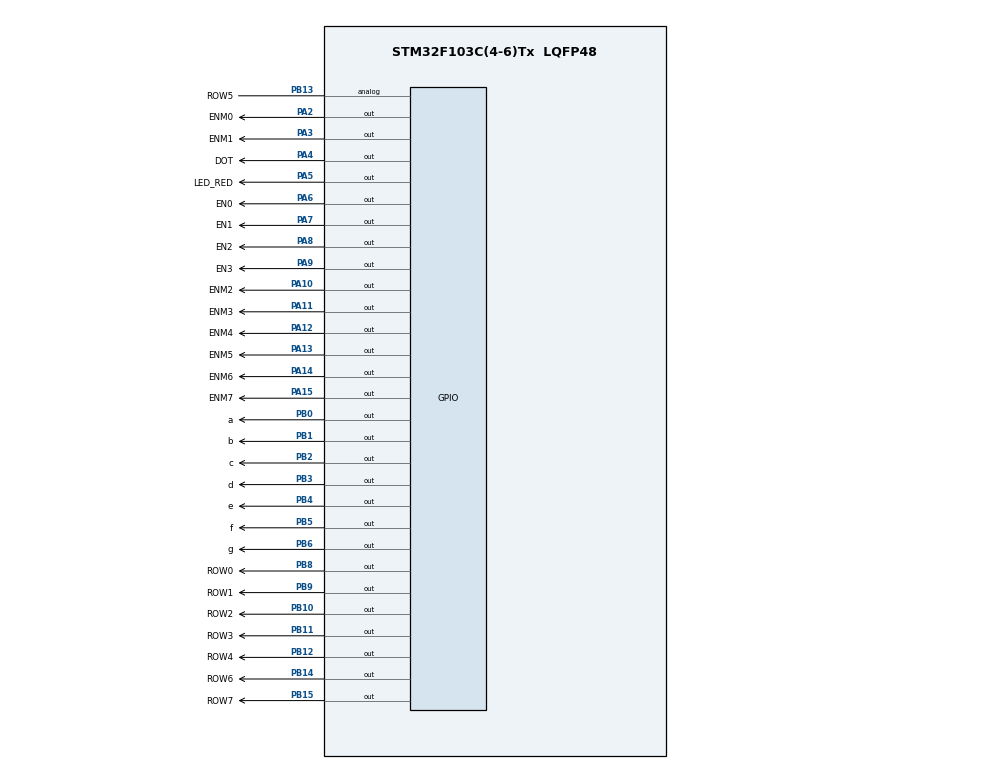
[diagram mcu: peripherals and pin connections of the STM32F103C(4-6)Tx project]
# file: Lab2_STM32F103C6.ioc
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Mcu.Family=STM32F1
Mcu.Name=STM32F103C(4-6)Tx
Mcu.Package=LQFP48
NVIC.PriorityGroup=NVIC_PRIORITYGROUP_4
NVIC.TIM2_IRQn=true\:0\:0\:false\:false\:true\:true\:true
PA10.GPIO_Label=ENM2
PA10.Signal=GPIO_Output
PA11.GPIO_Label=ENM3
PA11.Signal=GPIO_Output
PA12.GPIO_Label=ENM4
PA12.Signal=GPIO_Output
PA13.GPIO_Label=ENM5
PA13.Signal=GPIO_Output
PA14.GPIO_Label=ENM6
PA14.Signal=GPIO_Output
PA15.GPIO_Label=ENM7
PA15.Signal=GPIO_Output
PA2.GPIO_Label=ENM0
PA2.Signal=GPIO_Output
PA3.GPIO_Label=ENM1
PA3.Signal=GPIO_Output
PA4.GPIO_Label=DOT
PA4.Signal=GPIO_Output
PA5.GPIO_Label=LED_RED
PA5.Signal=GPIO_Output
PA6.GPIO_Label=EN0
PA6.Signal=GPIO_Output
PA7.GPIO_Label=EN1
PA7.Signal=GPIO_Output
PA8.GPIO_Label=EN2
PA8.Signal=GPIO_Output
PA9.GPIO_Label=EN3
PA9.Signal=GPIO_Output
PB0.GPIO_Label=a
PB0.Signal=GPIO_Output
PB1.GPIO_Label=b
PB1.Signal=GPIO_Output
PB10.GPIO_Label=ROW2
PB10.Signal=GPIO_Output
PB11.GPIO_Label=ROW3
PB11.Signal=GPIO_Output
PB12.GPIO_Label=ROW4
PB12.Signal=GPIO_Output
PB13.GPIO_Label=ROW5
PB13.Signal=GPIO_Analog
PB14.GPIO_Label=ROW6
PB14.Signal=GPIO_Output
PB15.GPIO_Label=ROW7
PB15.Signal=GPIO_Output
PB2.GPIO_Label=c
PB2.Signal=GPIO_Output
PB3.GPIO_Label=d
PB3.Signal=GPIO_Output
PB4.GPIO_Label=e
PB4.Signal=GPIO_Output
PB5.GPIO_Label=f
PB5.Signal=GPIO_Output
PB6.GPIO_Label=g
PB6.Signal=GPIO_Output
PB8.GPIO_Label=ROW0
PB8.Signal=GPIO_Output
PB9.GPIO_Label=ROW1
PB9.Signal=GPIO_Output
ProjectManager.HeapSize=0x200
ProjectManager.StackSize=0x400
ProjectManager.TargetToolchain=STM32CubeIDE
RCC.APB1Freq_Value=8000000
RCC.APB2Freq_Value=8000000
TIM2.Period=9
TIM2.Prescaler=7999
VP_SYS_VS_ND.Mode=No_Debug
VP_TIM2_VS_ClockSourceINT.Mode=Internal
board=custom

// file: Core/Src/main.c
/* USER CODE BEGIN Header */
/**
  ******************************************************************************
  * @file           : main.c
  * @brief          : Main program body
  ******************************************************************************
  * @attention
  *
  * <h2><center>&copy; Copyright (c) 2025 STMicroelectronics.
  * All rights reserved.</center></h2>
  *
  * This software component is licensed by ST under BSD 3-Clause license,
  * the "License"; You may not use this file except in compliance with the
  * License. You may obtain a copy of the License at:
  *                        opensource.org/licenses/BSD-3-Clause
  *
  ******************************************************************************
  */
/* USER CODE END Header */
#include "main.h"

/* USER CODE BEGIN Includes */
#include "timer.h"
/* USER CODE END Includes */

TIM_HandleTypeDef htim2;

void SystemClock_Config(void);
static void MX_GPIO_Init(void);
static void MX_TIM2_Init(void);

/* USER CODE BEGIN 0 */
int hour = 7, minute = 59, second = 45;  // Init values: 7:59:45
const int MAX_LED = 4;
int index_led = 0;
int led_buffer[4] = {0, 0, 0, 0};

const int MAX_LED_MATRIX = 8;
int index_led_matrix = 0;
uint8_t matrix_buffer[8] = {0x18, 0x24, 0x42, 0x42, 0x7E, 0x42, 0x42, 0x42};  // Pattern cho "A"
/* USER CODE END 0 */

int main(void)
{

  /* MCU Configuration--------------------------------------------------------*/

  /* Reset of all peripherals, Initializes the Flash interface and the Systick. */
  HAL_Init();

  /* Configure the system clock */
  SystemClock_Config();

  /* Initialize all configured peripherals */
  MX_GPIO_Init();
  MX_TIM2_Init();
  /* USER CODE BEGIN 2 */
  HAL_TIM_Base_Start_IT(&htim2);
  updateClockBuffer();
  /* USER CODE END 2 */

  /* Infinite loop */
  /* USER CODE BEGIN WHILE */
  setTimer1(25); // Display 7seg leds
  setTimer2(100); // Update real time
  setTimer3(100);
  while (1)
  {
    /* USER CODE END WHILE */

    /* USER CODE BEGIN 3 */
	  if (timer1_flag == 1)
	  {
		  setTimer1(25);
		  // Scan 7seg led
		  HAL_GPIO_WritePin(GPIOA, GPIO_PIN_6 | GPIO_PIN_7 | GPIO_PIN_8 | GPIO_PIN_9, SET);
		  update7SEG(index_led);  // Display current led
		  switch (index_led)
		  {
		  case 0: HAL_GPIO_WritePin(GPIOA, GPIO_PIN_6, RESET); break;  // LED1
		  case 1: HAL_GPIO_WritePin(GPIOA, GPIO_PIN_7, RESET); break;  // LED2
		  case 2: HAL_GPIO_WritePin(GPIOA, GPIO_PIN_8, RESET); break;  // LED3
		  case 3: HAL_GPIO_WritePin(GPIOA, GPIO_PIN_9, RESET); break;  // LED4
		  }
		  index_led = (index_led + 1) % MAX_LED;  // Next led
	  }

	  if (timer2_flag == 1)
	  {
		  setTimer2(100);
		  second++;
		  if (second >= 60)
		  {
			  second = 0;
			  minute++;
			  if (minute >= 60)
			  {
				  minute = 0;
				  hour++;
				  if (hour >= 24)
				  {
					  hour = 0;
				  }
			  }
		  }
		  HAL_GPIO_TogglePin(GPIOA, GPIO_PIN_4); // led DOT
		  HAL_GPIO_TogglePin(GPIOA, GPIO_PIN_5); // led PA5
		  updateClockBuffer();
	  }

	  if (timer3_flag == 1)
	  {
		  updateLEDMatrix(index_led_matrix);
		  index_led_matrix = (index_led_matrix + 1) % MAX_LED_MATRIX;
		  setTimer3(100);
	  }
  }
  /* USER CODE END 3 */
}

void SystemClock_Config(void)
{
  RCC_OscInitTypeDef RCC_OscInitStruct = {0};
  RCC_ClkInitTypeDef RCC_ClkInitStruct = {0};

  /** Initializes the RCC Oscillators according to the specified parameters
  * in the RCC_OscInitTypeDef structure.
  */
  RCC_OscInitStruct.OscillatorType = RCC_OSCILLATORTYPE_HSI;
  RCC_OscInitStruct.HSIState = RCC_HSI_ON;
  RCC_OscInitStruct.HSICalibrationValue = RCC_HSICALIBRATION_DEFAULT;
  RCC_OscInitStruct.PLL.PLLState = RCC_PLL_NONE;
  if (HAL_RCC_OscConfig(&RCC_OscInitStruct) != HAL_OK)
  {
    Error_Handler();
  }
  /** Initializes the CPU, AHB and APB buses clocks
  */
  RCC_ClkInitStruct.ClockType = RCC_CLOCKTYPE_HCLK|RCC_CLOCKTYPE_SYSCLK
                              |RCC_CLOCKTYPE_PCLK1|RCC_CLOCKTYPE_PCLK2;
  RCC_ClkInitStruct.SYSCLKSource = RCC_SYSCLKSOURCE_HSI;
  RCC_ClkInitStruct.AHBCLKDivider = RCC_SYSCLK_DIV1;
  RCC_ClkInitStruct.APB1CLKDivider = RCC_HCLK_DIV1;
  RCC_ClkInitStruct.APB2CLKDivider = RCC_HCLK_DIV1;

  if (HAL_RCC_ClockConfig(&RCC_ClkInitStruct, FLASH_LATENCY_0) != HAL_OK)
  {
    Error_Handler();
  }
}

static void MX_TIM2_Init(void)
{

  TIM_ClockConfigTypeDef sClockSourceConfig = {0};
  TIM_MasterConfigTypeDef sMasterConfig = {0};

  htim2.Instance = TIM2;
  htim2.Init.Prescaler = 7999;
  htim2.Init.CounterMode = TIM_COUNTERMODE_UP;
  htim2.Init.Period = 9;
  htim2.Init.ClockDivision = TIM_CLOCKDIVISION_DIV1;
  htim2.Init.AutoReloadPreload = TIM_AUTORELOAD_PRELOAD_DISABLE;
  if (HAL_TIM_Base_Init(&htim2) != HAL_OK)
  {
    Error_Handler();
  }
  sClockSourceConfig.ClockSource = TIM_CLOCKSOURCE_INTERNAL;
  if (HAL_TIM_ConfigClockSource(&htim2, &sClockSourceConfig) != HAL_OK)
  {
    Error_Handler();
  }
  sMasterConfig.MasterOutputTrigger = TIM_TRGO_RESET;
  sMasterConfig.MasterSlaveMode = TIM_MASTERSLAVEMODE_DISABLE;
  if (HAL_TIMEx_MasterConfigSynchronization(&htim2, &sMasterConfig) != HAL_OK)
  {
    Error_Handler();
  }

}

static void MX_GPIO_Init(void)
{
  GPIO_InitTypeDef GPIO_InitStruct = {0};

  /* GPIO Ports Clock Enable */
  __HAL_RCC_GPIOA_CLK_ENABLE();
  __HAL_RCC_GPIOB_CLK_ENABLE();

  /*Configure GPIO pin Output Level */
  HAL_GPIO_WritePin(GPIOA, ENM0_Pin|ENM1_Pin|DOT_Pin|LED_RED_Pin
                          |EN0_Pin|EN1_Pin|EN2_Pin|EN3_Pin
                          |ENM2_Pin|ENM3_Pin|ENM4_Pin|ENM5_Pin
                          |ENM6_Pin|ENM7_Pin, GPIO_PIN_RESET);

  /*Configure GPIO pin Output Level */
  HAL_GPIO_WritePin(GPIOB, a_Pin|b_Pin|c_Pin|ROW2_Pin
                          |ROW3_Pin|ROW4_Pin|ROW6_Pin|ROW7_Pin
                          |d_Pin|e_Pin|f_Pin|g_Pin
                          |ROW0_Pin|ROW1_Pin, GPIO_PIN_RESET);

  /*Configure GPIO pins : ENM0_Pin ENM1_Pin DOT_Pin LED_RED_Pin
                           EN0_Pin EN1_Pin EN2_Pin EN3_Pin
                           ENM2_Pin ENM3_Pin ENM4_Pin ENM5_Pin
                           ENM6_Pin ENM7_Pin */
  GPIO_InitStruct.Pin = ENM0_Pin|ENM1_Pin|DOT_Pin|LED_RED_Pin
                          |EN0_Pin|EN1_Pin|EN2_Pin|EN3_Pin
                          |ENM2_Pin|ENM3_Pin|ENM4_Pin|ENM5_Pin
                          |ENM6_Pin|ENM7_Pin;
  GPIO_InitStruct.Mode = GPIO_MODE_OUTPUT_PP;
  GPIO_InitStruct.Pull = GPIO_NOPULL;
  GPIO_InitStruct.Speed = GPIO_SPEED_FREQ_LOW;
  HAL_GPIO_Init(GPIOA, &GPIO_InitStruct);

  /*Configure GPIO pins : a_Pin b_Pin c_Pin ROW2_Pin
                           ROW3_Pin ROW4_Pin ROW6_Pin ROW7_Pin
                           d_Pin e_Pin f_Pin g_Pin
                           ROW0_Pin ROW1_Pin */
  GPIO_InitStruct.Pin = a_Pin|b_Pin|c_Pin|ROW2_Pin
                          |ROW3_Pin|ROW4_Pin|ROW6_Pin|ROW7_Pin
                          |d_Pin|e_Pin|f_Pin|g_Pin
                          |ROW0_Pin|ROW1_Pin;
  GPIO_InitStruct.Mode = GPIO_MODE_OUTPUT_PP;
  GPIO_InitStruct.Pull = GPIO_NOPULL;
  GPIO_InitStruct.Speed = GPIO_SPEED_FREQ_LOW;
  HAL_GPIO_Init(GPIOB, &GPIO_InitStruct);

  /*Configure GPIO pin : ROW5_Pin */
  GPIO_InitStruct.Pin = ROW5_Pin;
  GPIO_InitStruct.Mode = GPIO_MODE_ANALOG;
  HAL_GPIO_Init(ROW5_GPIO_Port, &GPIO_InitStruct);

}

/* USER CODE BEGIN 4 */
void update7SEG(int index)
{
    if (index < 0 || index >= MAX_LED) return;  // Check valid index

    // Turn off enable pins
    HAL_GPIO_WritePin(GPIOA, GPIO_PIN_6 | GPIO_PIN_7 | GPIO_PIN_8 | GPIO_PIN_9, SET);

    // Display numbers from buffer (PB0-PB6)
    display7SEG(led_buffer[index]);

    switch (index)
    {
	case 0:
		HAL_GPIO_WritePin(GPIOA, GPIO_PIN_6, RESET);  // LED1
		break;
	case 1:
		HAL_GPIO_WritePin(GPIOA, GPIO_PIN_7, RESET);  // LED2
		break;
	case 2:
		HAL_GPIO_WritePin(GPIOA, GPIO_PIN_8, RESET);  // LED3
		break;
	case 3:
		HAL_GPIO_WritePin(GPIOA, GPIO_PIN_9, RESET);  // LED4
		break;
	default:
		break;
    }
}

void updateClockBuffer()
{
    // Update hour
    if (hour >= 24) hour = 0;
    int temp_hour = hour;
    led_buffer[0] = temp_hour / 10;  // First num of hour
    led_buffer[1] = temp_hour % 10;  // Second num of hour

    // Update minute
    if (minute >= 60) minute = 0;
    int temp_minute = minute;
    led_buffer[2] = temp_minute / 10;  // First num of minute
    led_buffer[3] = temp_minute % 10;  // Second num of minute
}

void updateLEDMatrix(int index)
{
    HAL_GPIO_WritePin(GPIOA, GPIO_PIN_2 | GPIO_PIN_3 | GPIO_PIN_10 | GPIO_PIN_11 | GPIO_PIN_12 | GPIO_PIN_13 | GPIO_PIN_14 | GPIO_PIN_15, SET);
    switch (index)
    {
        case 0:
            HAL_GPIO_WritePin(GPIOB, GPIO_PIN_8, (matrix_buffer[0] & 0x01) ? GPIO_PIN_RESET : GPIO_PIN_SET);
            HAL_GPIO_WritePin(GPIOB, GPIO_PIN_9, (matrix_buffer[0] & 0x02) ? GPIO_PIN_RESET : GPIO_PIN_SET);
            HAL_GPIO_WritePin(GPIOB, GPIO_PIN_10, (matrix_buffer[0] & 0x04) ? GPIO_PIN_RESET : GPIO_PIN_SET);
            HAL_GPIO_WritePin(GPIOB, GPIO_PIN_11, (matrix_buffer[0] & 0x08) ? GPIO_PIN_RESET : GPIO_PIN_SET);
            HAL_GPIO_WritePin(GPIOB, GPIO_PIN_12, (matrix_buffer[0] & 0x10) ? GPIO_PIN_RESET : GPIO_PIN_SET);
            HAL_GPIO_WritePin(GPIOB, GPIO_PIN_13, (matrix_buffer[0] & 0x20) ? GPIO_PIN_RESET : GPIO_PIN_SET);
            HAL_GPIO_WritePin(GPIOB, GPIO_PIN_14, (matrix_buffer[0] & 0x40) ? GPIO_PIN_RESET : GPIO_PIN_SET);
            HAL_GPIO_WritePin(GPIOB, GPIO_PIN_15, (matrix_buffer[0] & 0x80) ? GPIO_PIN_RESET : GPIO_PIN_SET);
            HAL_GPIO_WritePin(GPIOA, GPIO_PIN_2, GPIO_PIN_RESET); break;
        case 1:
        	HAL_GPIO_WritePin(GPIOB, GPIO_PIN_8, (matrix_buffer[1] & 0x01) ? GPIO_PIN_RESET : GPIO_PIN_SET);
			HAL_GPIO_WritePin(GPIOB, GPIO_PIN_9, (matrix_buffer[1] & 0x02) ? GPIO_PIN_RESET : GPIO_PIN_SET);
			HAL_GPIO_WritePin(GPIOB, GPIO_PIN_10, (matrix_buffer[1] & 0x04) ? GPIO_PIN_RESET : GPIO_PIN_SET);
			HAL_GPIO_WritePin(GPIOB, GPIO_PIN_11, (matrix_buffer[1] & 0x08) ? GPIO_PIN_RESET : GPIO_PIN_SET);
			HAL_GPIO_WritePin(GPIOB, GPIO_PIN_12, (matrix_buffer[1] & 0x10) ? GPIO_PIN_RESET : GPIO_PIN_SET);
			HAL_GPIO_WritePin(GPIOB, GPIO_PIN_13, (matrix_buffer[1] & 0x20) ? GPIO_PIN_RESET : GPIO_PIN_SET);
			HAL_GPIO_WritePin(GPIOB, GPIO_PIN_14, (matrix_buffer[1] & 0x40) ? GPIO_PIN_RESET : GPIO_PIN_SET);
			HAL_GPIO_WritePin(GPIOB, GPIO_PIN_15, (matrix_buffer[1] & 0x80) ? GPIO_PIN_RESET : GPIO_PIN_SET);
            HAL_GPIO_WritePin(GPIOA, GPIO_PIN_3, GPIO_PIN_RESET); break;
        case 2:
        	HAL_GPIO_WritePin(GPIOB, GPIO_PIN_8, (matrix_buffer[2] & 0x01) ? GPIO_PIN_RESET : GPIO_PIN_SET);
			HAL_GPIO_WritePin(GPIOB, GPIO_PIN_9, (matrix_buffer[2] & 0x02) ? GPIO_PIN_RESET : GPIO_PIN_SET);
			HAL_GPIO_WritePin(GPIOB, GPIO_PIN_10, (matrix_buffer[2] & 0x04) ? GPIO_PIN_RESET : GPIO_PIN_SET);
			HAL_GPIO_WritePin(GPIOB, GPIO_PIN_11, (matrix_buffer[2] & 0x08) ? GPIO_PIN_RESET : GPIO_PIN_SET);
			HAL_GPIO_WritePin(GPIOB, GPIO_PIN_12, (matrix_buffer[2] & 0x10) ? GPIO_PIN_RESET : GPIO_PIN_SET);
			HAL_GPIO_WritePin(GPIOB, GPIO_PIN_13, (matrix_buffer[2] & 0x20) ? GPIO_PIN_RESET : GPIO_PIN_SET);
			HAL_GPIO_WritePin(GPIOB, GPIO_PIN_14, (matrix_buffer[2] & 0x40) ? GPIO_PIN_RESET : GPIO_PIN_SET);
			HAL_GPIO_WritePin(GPIOB, GPIO_PIN_15, (matrix_buffer[2] & 0x80) ? GPIO_PIN_RESET : GPIO_PIN_SET);
            HAL_GPIO_WritePin(GPIOA, GPIO_PIN_10, GPIO_PIN_RESET); break;
        case 3:
        	HAL_GPIO_WritePin(GPIOB, GPIO_PIN_8, (matrix_buffer[3] & 0x01) ? GPIO_PIN_RESET : GPIO_PIN_SET);
			HAL_GPIO_WritePin(GPIOB, GPIO_PIN_9, (matrix_buffer[3] & 0x02) ? GPIO_PIN_RESET : GPIO_PIN_SET);
			HAL_GPIO_WritePin(GPIOB, GPIO_PIN_10, (matrix_buffer[3] & 0x04) ? GPIO_PIN_RESET : GPIO_PIN_SET);
			HAL_GPIO_WritePin(GPIOB, GPIO_PIN_11, (matrix_buffer[3] & 0x08) ? GPIO_PIN_RESET : GPIO_PIN_SET);
			HAL_GPIO_WritePin(GPIOB, GPIO_PIN_12, (matrix_buffer[3] & 0x10) ? GPIO_PIN_RESET : GPIO_PIN_SET);
			HAL_GPIO_WritePin(GPIOB, GPIO_PIN_13, (matrix_buffer[3] & 0x20) ? GPIO_PIN_RESET : GPIO_PIN_SET);
			HAL_GPIO_WritePin(GPIOB, GPIO_PIN_14, (matrix_buffer[3] & 0x40) ? GPIO_PIN_RESET : GPIO_PIN_SET);
			HAL_GPIO_WritePin(GPIOB, GPIO_PIN_15, (matrix_buffer[3] & 0x80) ? GPIO_PIN_RESET : GPIO_PIN_SET);
            HAL_GPIO_WritePin(GPIOA, GPIO_PIN_11, GPIO_PIN_RESET); break;
        case 4:
        	HAL_GPIO_WritePin(GPIOB, GPIO_PIN_8, (matrix_buffer[4] & 0x01) ? GPIO_PIN_RESET : GPIO_PIN_SET);
			HAL_GPIO_WritePin(GPIOB, GPIO_PIN_9, (matrix_buffer[4] & 0x02) ? GPIO_PIN_RESET : GPIO_PIN_SET);
			HAL_GPIO_WritePin(GPIOB, GPIO_PIN_10, (matrix_buffer[4] & 0x04) ? GPIO_PIN_RESET : GPIO_PIN_SET);
			HAL_GPIO_WritePin(GPIOB, GPIO_PIN_11, (matrix_buffer[4] & 0x08) ? GPIO_PIN_RESET : GPIO_PIN_SET);
			HAL_GPIO_WritePin(GPIOB, GPIO_PIN_12, (matrix_buffer[4] & 0x10) ? GPIO_PIN_RESET : GPIO_PIN_SET);
			HAL_GPIO_WritePin(GPIOB, GPIO_PIN_13, (matrix_buffer[4] & 0x20) ? GPIO_PIN_RESET : GPIO_PIN_SET);
			HAL_GPIO_WritePin(GPIOB, GPIO_PIN_14, (matrix_buffer[4] & 0x40) ? GPIO_PIN_RESET : GPIO_PIN_SET);
			HAL_GPIO_WritePin(GPIOB, GPIO_PIN_15, (matrix_buffer[4] & 0x80) ? GPIO_PIN_RESET : GPIO_PIN_SET);
            HAL_GPIO_WritePin(GPIOA, GPIO_PIN_12, GPIO_PIN_RESET); break;
        case 5:
        	HAL_GPIO_WritePin(GPIOB, GPIO_PIN_8, (matrix_buffer[5] & 0x01) ? GPIO_PIN_RESET : GPIO_PIN_SET);
			HAL_GPIO_WritePin(GPIOB, GPIO_PIN_9, (matrix_buffer[5] & 0x02) ? GPIO_PIN_RESET : GPIO_PIN_SET);
			HAL_GPIO_WritePin(GPIOB, GPIO_PIN_10, (matrix_buffer[5] & 0x04) ? GPIO_PIN_RESET : GPIO_PIN_SET);
			HAL_GPIO_WritePin(GPIOB, GPIO_PIN_11, (matrix_buffer[5] & 0x08) ? GPIO_PIN_RESET : GPIO_PIN_SET);
			HAL_GPIO_WritePin(GPIOB, GPIO_PIN_12, (matrix_buffer[5] & 0x10) ? GPIO_PIN_RESET : GPIO_PIN_SET);
			HAL_GPIO_WritePin(GPIOB, GPIO_PIN_13, (matrix_buffer[5] & 0x20) ? GPIO_PIN_RESET : GPIO_PIN_SET);
			HAL_GPIO_WritePin(GPIOB, GPIO_PIN_14, (matrix_buffer[5] & 0x40) ? GPIO_PIN_RESET : GPIO_PIN_SET);
			HAL_GPIO_WritePin(GPIOB, GPIO_PIN_15, (matrix_buffer[5] & 0x80) ? GPIO_PIN_RESET : GPIO_PIN_SET);
            HAL_GPIO_WritePin(GPIOA, GPIO_PIN_13, GPIO_PIN_RESET); break;
        case 6:
        	HAL_GPIO_WritePin(GPIOB, GPIO_PIN_8, (matrix_buffer[6] & 0x01) ? GPIO_PIN_RESET : GPIO_PIN_SET);
			HAL_GPIO_WritePin(GPIOB, GPIO_PIN_9, (matrix_buffer[6] & 0x02) ? GPIO_PIN_RESET : GPIO_PIN_SET);
			HAL_GPIO_WritePin(GPIOB, GPIO_PIN_10, (matrix_buffer[6] & 0x04) ? GPIO_PIN_RESET : GPIO_PIN_SET);
			HAL_GPIO_WritePin(GPIOB, GPIO_PIN_11, (matrix_buffer[6] & 0x08) ? GPIO_PIN_RESET : GPIO_PIN_SET);
			HAL_GPIO_WritePin(GPIOB, GPIO_PIN_12, (matrix_buffer[6] & 0x10) ? GPIO_PIN_RESET : GPIO_PIN_SET);
			HAL_GPIO_WritePin(GPIOB, GPIO_PIN_13, (matrix_buffer[6] & 0x20) ? GPIO_PIN_RESET : GPIO_PIN_SET);
			HAL_GPIO_WritePin(GPIOB, GPIO_PIN_14, (matrix_buffer[6] & 0x40) ? GPIO_PIN_RESET : GPIO_PIN_SET);
			HAL_GPIO_WritePin(GPIOB, GPIO_PIN_15, (matrix_buffer[6] & 0x80) ? GPIO_PIN_RESET : GPIO_PIN_SET);
            HAL_GPIO_WritePin(GPIOA, GPIO_PIN_14, GPIO_PIN_RESET); break;
        case 7:
        	HAL_GPIO_WritePin(GPIOB, GPIO_PIN_8, (matrix_buffer[7] & 0x01) ? GPIO_PIN_RESET : GPIO_PIN_SET);
			HAL_GPIO_WritePin(GPIOB, GPIO_PIN_9, (matrix_buffer[7] & 0x02) ? GPIO_PIN_RESET : GPIO_PIN_SET);
			HAL_GPIO_WritePin(GPIOB, GPIO_PIN_10, (matrix_buffer[7] & 0x04) ? GPIO_PIN_RESET : GPIO_PIN_SET);
			HAL_GPIO_WritePin(GPIOB, GPIO_PIN_11, (matrix_buffer[7] & 0x08) ? GPIO_PIN_RESET : GPIO_PIN_SET);
			HAL_GPIO_WritePin(GPIOB, GPIO_PIN_12, (matrix_buffer[7] & 0x10) ? GPIO_PIN_RESET : GPIO_PIN_SET);
			HAL_GPIO_WritePin(GPIOB, GPIO_PIN_13, (matrix_buffer[7] & 0x20) ? GPIO_PIN_RESET : GPIO_PIN_SET);
			HAL_GPIO_WritePin(GPIOB, GPIO_PIN_14, (matrix_buffer[7] & 0x40) ? GPIO_PIN_RESET : GPIO_PIN_SET);
			HAL_GPIO_WritePin(GPIOB, GPIO_PIN_15, (matrix_buffer[7] & 0x80) ? GPIO_PIN_RESET : GPIO_PIN_SET);
            HAL_GPIO_WritePin(GPIOA, GPIO_PIN_15, GPIO_PIN_RESET); break;
        default: break;
    }
}

void HAL_TIM_PeriodElapsedCallback(TIM_HandleTypeDef *htim)
{
    timerRun();
}

void display7SEG(int num)
{
    switch (num)
    {
        case 0:
            HAL_GPIO_WritePin(GPIOB, GPIO_PIN_0, GPIO_PIN_RESET); // a on
            HAL_GPIO_WritePin(GPIOB, GPIO_PIN_1, GPIO_PIN_RESET); // b on
            HAL_GPIO_WritePin(GPIOB, GPIO_PIN_2, GPIO_PIN_RESET); // c on
            HAL_GPIO_WritePin(GPIOB, GPIO_PIN_3, GPIO_PIN_RESET); // d on
            HAL_GPIO_WritePin(GPIOB, GPIO_PIN_4, GPIO_PIN_RESET); // e on
            HAL_GPIO_WritePin(GPIOB, GPIO_PIN_5, GPIO_PIN_RESET); // f on
            HAL_GPIO_WritePin(GPIOB, GPIO_PIN_6, GPIO_PIN_SET);   // g off
            break;
        case 1:
            HAL_GPIO_WritePin(GPIOB, GPIO_PIN_0, GPIO_PIN_SET);   // a off
            HAL_GPIO_WritePin(GPIOB, GPIO_PIN_1, GPIO_PIN_RESET); // b on
            HAL_GPIO_WritePin(GPIOB, GPIO_PIN_2, GPIO_PIN_RESET); // c on
            HAL_GPIO_WritePin(GPIOB, GPIO_PIN_3, GPIO_PIN_SET);   // d off
            HAL_GPIO_WritePin(GPIOB, GPIO_PIN_4, GPIO_PIN_SET);   // e off
            HAL_GPIO_WritePin(GPIOB, GPIO_PIN_5, GPIO_PIN_SET);   // f off
            HAL_GPIO_WritePin(GPIOB, GPIO_PIN_6, GPIO_PIN_SET);   // g off
            break;
        case 2:
            HAL_GPIO_WritePin(GPIOB, GPIO_PIN_0, GPIO_PIN_RESET); // a on
            HAL_GPIO_WritePin(GPIOB, GPIO_PIN_1, GPIO_PIN_RESET); // b on
            HAL_GPIO_WritePin(GPIOB, GPIO_PIN_2, GPIO_PIN_SET);   // c off
            HAL_GPIO_WritePin(GPIOB, GPIO_PIN_3, GPIO_PIN_RESET); // d on
            HAL_GPIO_WritePin(GPIOB, GPIO_PIN_4, GPIO_PIN_RESET); // e on
            HAL_GPIO_WritePin(GPIOB, GPIO_PIN_5, GPIO_PIN_SET);   // f off
            HAL_GPIO_WritePin(GPIOB, GPIO_PIN_6, GPIO_PIN_RESET); // g on
            break;
        case 3:
            HAL_GPIO_WritePin(GPIOB, GPIO_PIN_0, GPIO_PIN_RESET); // a on
            HAL_GPIO_WritePin(GPIOB, GPIO_PIN_1, GPIO_PIN_RESET); // b on
            HAL_GPIO_WritePin(GPIOB, GPIO_PIN_2, GPIO_PIN_RESET); // c on
            HAL_GPIO_WritePin(GPIOB, GPIO_PIN_3, GPIO_PIN_RESET); // d on
            HAL_GPIO_WritePin(GPIOB, GPIO_PIN_4, GPIO_PIN_SET);   // e off
            HAL_GPIO_WritePin(GPIOB, GPIO_PIN_5, GPIO_PIN_SET);   // f off
            HAL_GPIO_WritePin(GPIOB, GPIO_PIN_6, GPIO_PIN_RESET); // g on
            break;
        case 4:
            HAL_GPIO_WritePin(GPIOB, GPIO_PIN_0, GPIO_PIN_SET);   // a off
            HAL_GPIO_WritePin(GPIOB, GPIO_PIN_1, GPIO_PIN_RESET); // b on
            HAL_GPIO_WritePin(GPIOB, GPIO_PIN_2, GPIO_PIN_RESET); // c on
            HAL_GPIO_WritePin(GPIOB, GPIO_PIN_3, GPIO_PIN_SET);   // d off
            HAL_GPIO_WritePin(GPIOB, GPIO_PIN_4, GPIO_PIN_SET);   // e off
            HAL_GPIO_WritePin(GPIOB, GPIO_PIN_5, GPIO_PIN_RESET); // f on
            HAL_GPIO_WritePin(GPIOB, GPIO_PIN_6, GPIO_PIN_RESET); // g on
            break;
        case 5:
            HAL_GPIO_WritePin(GPIOB, GPIO_PIN_0, GPIO_PIN_RESET); // a on
            HAL_GPIO_WritePin(GPIOB, GPIO_PIN_1, GPIO_PIN_SET);   // b off
            HAL_GPIO_WritePin(GPIOB, GPIO_PIN_2, GPIO_PIN_RESET); // c on
            HAL_GPIO_WritePin(GPIOB, GPIO_PIN_3, GPIO_PIN_RESET); // d on
            HAL_GPIO_WritePin(GPIOB, GPIO_PIN_4, GPIO_PIN_SET);   // e off
            HAL_GPIO_WritePin(GPIOB, GPIO_PIN_5, GPIO_PIN_RESET); // f on
            HAL_GPIO_WritePin(GPIOB, GPIO_PIN_6, GPIO_PIN_RESET); // g on
            break;
        case 6:
            HAL_GPIO_WritePin(GPIOB, GPIO_PIN_0, GPIO_PIN_RESET); // a on
            HAL_GPIO_WritePin(GPIOB, GPIO_PIN_1, GPIO_PIN_SET);   // b off
            HAL_GPIO_WritePin(GPIOB, GPIO_PIN_2, GPIO_PIN_RESET); // c on
            HAL_GPIO_WritePin(GPIOB, GPIO_PIN_3, GPIO_PIN_RESET); // d on
            HAL_GPIO_WritePin(GPIOB, GPIO_PIN_4, GPIO_PIN_RESET); // e on
            HAL_GPIO_WritePin(GPIOB, GPIO_PIN_5, GPIO_PIN_RESET); // f on
            HAL_GPIO_WritePin(GPIOB, GPIO_PIN_6, GPIO_PIN_RESET); // g on
            break;
        case 7:
            HAL_GPIO_WritePin(GPIOB, GPIO_PIN_0, GPIO_PIN_RESET); // a on
            HAL_GPIO_WritePin(GPIOB, GPIO_PIN_1, GPIO_PIN_RESET); // b on
            HAL_GPIO_WritePin(GPIOB, GPIO_PIN_2, GPIO_PIN_RESET); // c on
            HAL_GPIO_WritePin(GPIOB, GPIO_PIN_3, GPIO_PIN_SET);   // d off
            HAL_GPIO_WritePin(GPIOB, GPIO_PIN_4, GPIO_PIN_SET);   // e off
            HAL_GPIO_WritePin(GPIOB, GPIO_PIN_5, GPIO_PIN_SET);   // f off
            HAL_GPIO_WritePin(GPIOB, GPIO_PIN_6, GPIO_PIN_SET);   // g off
            break;
        case 8:
            HAL_GPIO_WritePin(GPIOB, GPIO_PIN_0, GPIO_PIN_RESET); // a on
            HAL_GPIO_WritePin(GPIOB, GPIO_PIN_1, GPIO_PIN_RESET); // b on
            HAL_GPIO_WritePin(GPIOB, GPIO_PIN_2, GPIO_PIN_RESET); // c on
            HAL_GPIO_WritePin(GPIOB, GPIO_PIN_3, GPIO_PIN_RESET); // d on
            HAL_GPIO_WritePin(GPIOB, GPIO_PIN_4, GPIO_PIN_RESET); // e on
            HAL_GPIO_WritePin(GPIOB, GPIO_PIN_5, GPIO_PIN_RESET); // f on
            HAL_GPIO_WritePin(GPIOB, GPIO_PIN_6, GPIO_PIN_RESET); // g on
            break;
        case 9:
            HAL_GPIO_WritePin(GPIOB, GPIO_PIN_0, GPIO_PIN_RESET); // a on
            HAL_GPIO_WritePin(GPIOB, GPIO_PIN_1, GPIO_PIN_RESET); // b on
            HAL_GPIO_WritePin(GPIOB, GPIO_PIN_2, GPIO_PIN_RESET); // c on
            HAL_GPIO_WritePin(GPIOB, GPIO_PIN_3, GPIO_PIN_RESET); // d on
            HAL_GPIO_WritePin(GPIOB, GPIO_PIN_4, GPIO_PIN_SET);   // e off
            HAL_GPIO_WritePin(GPIOB, GPIO_PIN_5, GPIO_PIN_RESET); // f on
            HAL_GPIO_WritePin(GPIOB, GPIO_PIN_6, GPIO_PIN_RESET); // g on
            break;
        default:
            // Do nothing or invalid paramters
            break;
    }
}
/* USER CODE END 4 */

void Error_Handler(void)
{
  __disable_irq();
  while (1)
  {
  }
}

/************************ (C) COPYRIGHT STMicroelectronics *****END OF FILE****/
